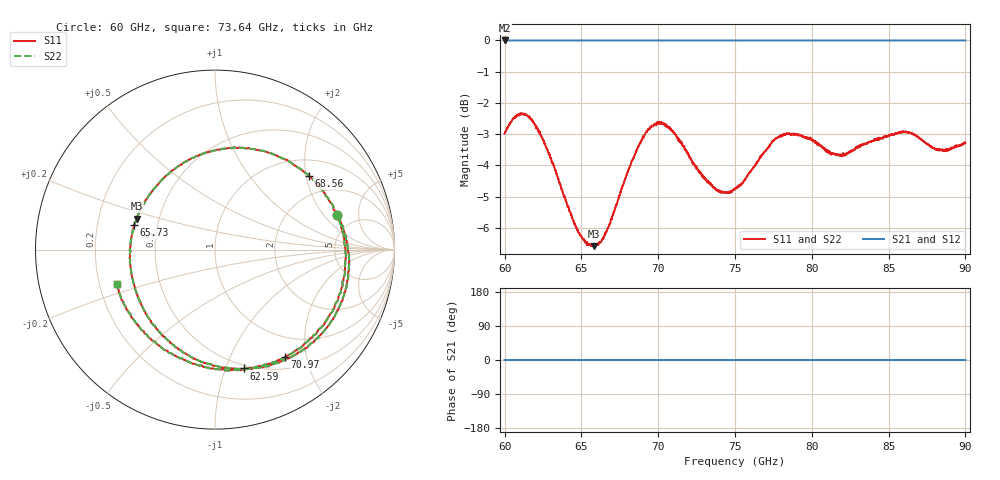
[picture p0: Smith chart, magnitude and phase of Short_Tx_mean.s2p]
!Keysight Technologies,N5242A,MY56023178,A.10.60.03
!Date: Tuesday, August 25, 2020 09:26:59
!Correction: S11(Full 2 Port(1,2))
!S21(Full 2 Port(1,2))
!S12(Full 2 Port(1,2))
!S22(Full 2 Port(1,2))
!S2P File: Measurements: S11, S21, S12, S22:
# Hz S  dB  R 50
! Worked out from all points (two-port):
!   2001 points, 60 GHz to 90 GHz, reference 50 ohm
!   highest |S21| = 0.00 dB at 60 GHz (marker M1); lowest = 0.0 dB at 60 GHz (marker M2)
!   |S21| within 3 dB of the highest: start of sweep to end of sweep
!   lowest |S11| = -6.6 dB at 65.83 GHz (marker M3), VSWR 2.76, Z = 18.7 + j8.27 ohm
!   |S11| at or under -10 dB: nowhere
!   |S22| runs from -6.6 to -2.3 dB; largest |S21 - S12| = 0
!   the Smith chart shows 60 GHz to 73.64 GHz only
!   S11 on the Smith chart (normalised r, x): 60 GHz: 3.57, +2.80; 62.59 GHz: 0.47, -1.16; 65.73 GHz: 0.37, +0.13; 68.56 GHz: 1.41, +2.06; 70.97 GHz: 0.67, -1.64; 73.64 GHz: 0.27, -0.16
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6e10  -2.99 15.9  0.00 0.0  0.00 0.0  -2.99 15.9
6.1125e10  -2.36 -24.6  0.00 0.0  0.00 0.0  -2.36 -24.6
6.2595e10  -3.32 -76.2  0.00 0.0  0.00 0.0  -3.32 -76.2
6.501e10  -6.27 -164.0  0.00 0.0  0.00 0.0  -6.27 -164.0
6.573e10  -6.52 163.3  0.00 0.0  0.00 0.0  -6.52 163.3
6.5835e10  -6.59 158.3  0.00 0.0  0.00 0.0  -6.59 158.3
6.738e10  -5.12 89.3  0.00 0.0  0.00 0.0  -5.12 89.3
6.8565e10  -3.57 38.2  0.00 0.0  0.00 0.0  -3.57 38.2
7.0005e10  -2.66 -19.8  0.00 0.0  0.00 0.0  -2.66 -19.8
7.0965e10  -2.90 -56.9  0.00 0.0  0.00 0.0  -2.90 -56.9
7.212e10  -3.77 -101.2  0.00 0.0  0.00 0.0  -3.77 -101.2
7.3635e10  -4.72 -160.5  0.00 0.0  0.00 0.0  -4.72 -160.5
7.5e10  -4.74 145.3  0.00 0.0  0.00 0.0  -4.74 145.3
7.71e10  -3.46 60.4  0.00 0.0  0.00 0.0  -3.46 60.4
7.854e10  -2.99 1.0  0.00 0.0  0.00 0.0  -2.99 1.0
8.001e10  -3.20 -61.7  0.00 0.0  0.00 0.0  -3.20 -61.7
8.1165e10  -3.62 -110.5  0.00 0.0  0.00 0.0  -3.62 -110.5
8.2605e10  -3.56 -170.8  0.00 0.0  0.00 0.0  -3.56 -170.8
8.5005e10  -3.06 97.9  0.00 0.0  0.00 0.0  -3.06 97.9
8.7555e10  -3.33 -1.4  0.00 0.0  0.00 0.0  -3.33 -1.4
8.892e10  -3.48 -64.9  0.00 0.0  0.00 0.0  -3.48 -64.9
9e10  -3.28 -116.0  0.00 0.0  0.00 0.0  -3.28 -116.0
